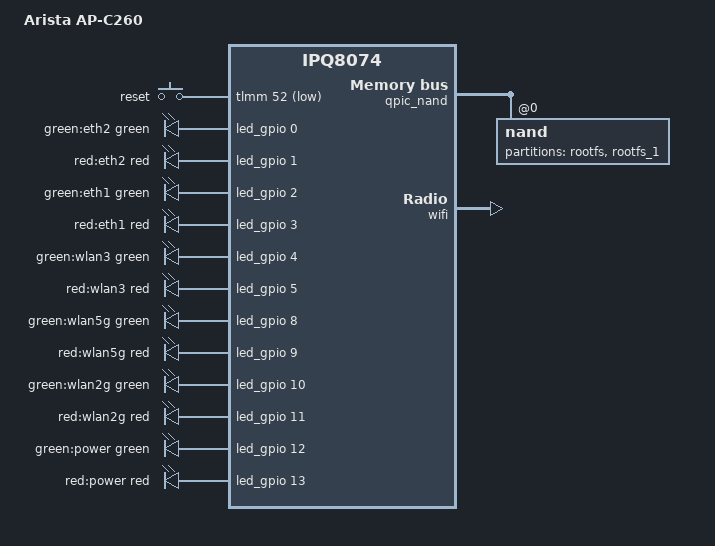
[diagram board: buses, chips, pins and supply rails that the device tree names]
// SPDX-License-Identifier: GPL-2.0-or-later OR MIT

/dts-v1/;

#include "ipq8076-arista.dtsi"

/ {
	model = "Arista AP-C260";
	compatible = "arista,c260", "qcom,ipq8074";

	keys {
		compatible = "gpio-keys";

		reset {
			label = "reset";
			gpios = <&tlmm 52 GPIO_ACTIVE_LOW>;
			linux,code = <KEY_RESTART>;
			debounce-interval = <60>;
		};
	};

	leds {
		compatible = "gpio-leds";

		led_eth2_green: eth2-green {
			label = "green:eth2";
			color = <LED_COLOR_ID_GREEN>;
			function = LED_FUNCTION_LAN;
			gpios = <&led_gpio 0 GPIO_ACTIVE_HIGH>;
			default-state = "off";
		};

		led_eth2_red: eth2-red {
			label = "red:eth2";
			color = <LED_COLOR_ID_RED>;
			function = LED_FUNCTION_LAN;
			gpios = <&led_gpio 1 GPIO_ACTIVE_HIGH>;
			default-state = "off";
		};

		led_eth1_green: eth1-green {
			label = "green:eth1";
			color = <LED_COLOR_ID_GREEN>;
			function = LED_FUNCTION_LAN;
			gpios = <&led_gpio 2 GPIO_ACTIVE_HIGH>;
			default-state = "off";
		};

		led_eth1_red: eth1-red {
			label = "red:eth1";
			color = <LED_COLOR_ID_RED>;
			function = LED_FUNCTION_LAN;
			gpios = <&led_gpio 3 GPIO_ACTIVE_HIGH>;
			default-state = "off";
		};

		led_wlan3_green: wlan3-green {
			label = "green:wlan3";
			color = <LED_COLOR_ID_GREEN>;
			function = LED_FUNCTION_WLAN;
			gpios = <&led_gpio 4 GPIO_ACTIVE_HIGH>;
			default-state = "off";
		};

		led_wlan3_red: wlan3-red {
			label = "red:wlan3";
			color = <LED_COLOR_ID_RED>;
			function = LED_FUNCTION_WLAN;
			gpios = <&led_gpio 5 GPIO_ACTIVE_HIGH>;
			default-state = "off";
		};

		led_wlan5g_green: wlan5g-green {
			label = "green:wlan5g";
			color = <LED_COLOR_ID_GREEN>;
			function = LED_FUNCTION_WLAN_5GHZ;
			gpios = <&led_gpio 8 GPIO_ACTIVE_HIGH>;
			default-state = "off";
		};

		led_wlan5g_red: wlan5g-red {
			label = "red:wlan5g";
			color = <LED_COLOR_ID_RED>;
			function = LED_FUNCTION_WLAN_5GHZ;
			gpios = <&led_gpio 9 GPIO_ACTIVE_HIGH>;
			default-state = "off";
		};

		led_wlan2g_green: wlan2g-green {
			label = "green:wlan2g";
			color = <LED_COLOR_ID_GREEN>;
			function = LED_FUNCTION_WLAN_2GHZ;
			gpios = <&led_gpio 10 GPIO_ACTIVE_HIGH>;
			default-state = "off";
		};

		led_wlan2g_red: wlan2g-red {
			label = "red:wlan2g";
			color = <LED_COLOR_ID_RED>;
			function = LED_FUNCTION_WLAN_2GHZ;
			gpios = <&led_gpio 11 GPIO_ACTIVE_HIGH>;
			default-state = "off";
		};

		led_power_green: power-green {
			label = "green:power";
			color = <LED_COLOR_ID_GREEN>;
			function = LED_FUNCTION_POWER;
			gpios = <&led_gpio 12 GPIO_ACTIVE_HIGH>;
			default-state = "on";
		};

		led_power_red: power-red {
			label = "red:power";
			color = <LED_COLOR_ID_RED>;
			function = LED_FUNCTION_POWER;
			gpios = <&led_gpio 13 GPIO_ACTIVE_HIGH>;
			default-state = "off";
		};
	};
};

&flash_partitions {
	partition@690000 {
		label = "0:ART";
		reg = <0x690000 0x40000>;
		read-only;

		nvmem-layout {
			compatible = "fixed-layout";
			#address-cells = <1>;
			#size-cells = <1>;

			macaddr_lan: macaddr@0 {
				compatible = "mac-base";
				reg = <0x0 0x6>;
			};

			macaddr_wan: macaddr@6 {
				compatible = "mac-base";
				reg = <0x6 0x6>;
			};
		};
	};

	partition@6d0000 {
		label = "0:ETHPHYFW";
		reg = <0x6d0000 0x80000>;
		read-only;
	};

	partition@750000 {
		label = "0:HLOS";
		reg = <0x750000 0x800000>;
	};

	partition@f50000 {
		label = "0:HLOS_1";
		reg = <0xf50000 0x800000>;
	};

	partition@1750000 {
		label = "CONFIG";
		reg = <0x1750000 0x400000>;
	};

	partition@1b50000 {
		label = "LOGGING";
		reg = <0x1b50000 0x100000>;
	};

	partition@1c50000 {
		label = "RESERVED";
		reg = <0x1c50000 0x3b0000>;
	};
};

&qpic_nand {
	status = "okay";

	nand@0 {
		reg = <0>;
		nand-ecc-strength = <8>;
		nand-ecc-step-size = <512>;
		nand-bus-width = <8>;

		partitions {
			compatible = "fixed-partitions";
			#address-cells = <1>;
			#size-cells = <1>;

			partition@0 {
				label = "rootfs";
				reg = <0x0 0x10000000>;
			};

			partition@10000000 {
				label = "rootfs_1";
				reg = <0x10000000 0x10000000>;
			};
		};
	};
};

&pcie0 {
	status = "disabled";
};

&pcie_qmp0 {
	status = "disabled";
};

&wifi {
	status = "okay";
	qcom,ath11k-fw-memory-mode = <1>;
	qcom,ath11k-calibration-variant = "Arista-C260";
};
